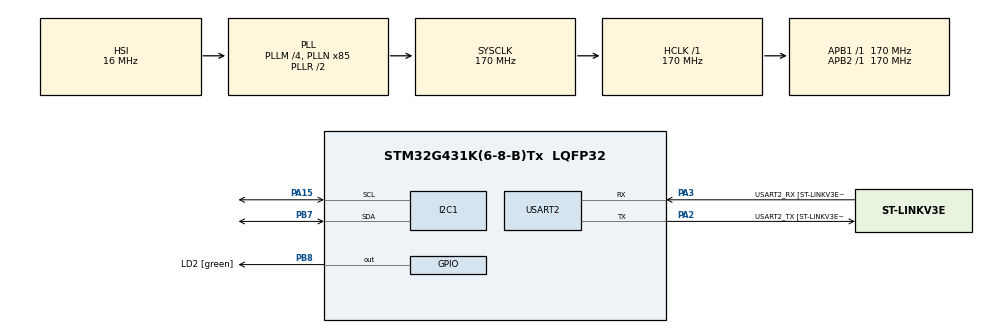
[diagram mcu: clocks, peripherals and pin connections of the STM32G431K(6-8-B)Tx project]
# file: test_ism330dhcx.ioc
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I2C1.Timing=0x30A0A7FB
Mcu.Family=STM32G4
Mcu.Name=STM32G431K(6-8-B)Tx
Mcu.Package=LQFP32
NVIC.PriorityGroup=NVIC_PRIORITYGROUP_4
PA13.GPIO_Label=T_SWDIO
PA13.Mode=Serial_Wire
PA13.Signal=SYS_JTMS-SWDIO
PA14.GPIO_Label=T_SWCLK
PA14.Mode=Serial_Wire
PA14.Signal=SYS_JTCK-SWCLK
PA15.Mode=I2C
PA15.Signal=I2C1_SCL
PA2.GPIO_Label=USART2_TX [ST-LINKV3E_VCP_RX]
PA2.Mode=Asynchronous
PA2.Signal=USART2_TX
PA3.GPIO_Label=USART2_RX [ST-LINKV3E_VCP_TX]
PA3.Mode=Asynchronous
PA3.Signal=USART2_RX
PB3.GPIO_Label=T_SWO
PB3.Signal=SYS_JTDO-SWO
PB7.Mode=I2C
PB7.Signal=I2C1_SDA
PB8-BOOT0.GPIO_Label=LD2 [green]
PB8-BOOT0.Signal=GPIO_Output
ProjectManager.HeapSize=0x200
ProjectManager.StackSize=0x400
ProjectManager.TargetToolchain=STM32CubeIDE
RCC.ADC12Freq_Value=170000000
RCC.AHBFreq_Value=170000000
RCC.APB1Freq_Value=170000000
RCC.APB1TimFreq_Value=170000000
RCC.APB2Freq_Value=170000000
RCC.APB2TimFreq_Value=170000000
RCC.CortexFreq_Value=170000000
RCC.EXTERNAL_CLOCK_VALUE=12288000
RCC.HCLKFreq_Value=170000000
RCC.HSE_VALUE=8000000
RCC.HSI48_VALUE=48000000
RCC.HSI_VALUE=16000000
RCC.LSE_VALUE=32768
RCC.PLLM=RCC_PLLM_DIV4
RCC.PLLN=85
RCC.SYSCLKFreq_VALUE=170000000
RCC.SYSCLKSource=RCC_SYSCLKSOURCE_PLLCLK
RCC.USBFreq_Value=170000000
RCC.VCOOutputFreq_Value=340000000
USART2.VirtualMode-Asynchronous=VM_ASYNC
USART2.WordLength=WORDLENGTH_8B
VP_SYS_VS_DBSignals.Mode=DisableDeadBatterySignals
board=NUCLEO-G431KB

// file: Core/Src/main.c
/* USER CODE BEGIN Header */
/**
  ******************************************************************************
  * @file           : main.c
  * @brief          : Main program body
  ******************************************************************************
  * @attention
  *
  * <h2><center>&copy; Copyright (c) 2020 STMicroelectronics.
  * All rights reserved.</center></h2>
  *
  * This software component is licensed by ST under BSD 3-Clause license,
  * the "License"; You may not use this file except in compliance with the
  * License. You may obtain a copy of the License at:
  *                        opensource.org/licenses/BSD-3-Clause
  *
  ******************************************************************************
  */
/* USER CODE END Header */
#include "main.h"

/* USER CODE BEGIN Includes */
#include "ism330dhcx_hal.h"
#include "string.h"
/* USER CODE END Includes */

I2C_HandleTypeDef hi2c1;					//< Handler for I2C
UART_HandleTypeDef huart2;					//< Handler for UART
/* USER CODE BEGIN PV */
ISM330DHCX_HandleTypeDef 	hism330;		//< For ISM330DHCX sensor
/* USER CODE END PV */

void SystemClock_Config(void);
static void MX_GPIO_Init(void);
static void MX_USART2_UART_Init(void);
static void MX_I2C1_Init(void);
/* USER CODE BEGIN PFP */
void ISM330DHCX_sendData(ism_data *ism_d, UART_HandleTypeDef *huart);
void ISM330DHCX_sendConf(ism_conf *ism_c, UART_HandleTypeDef *huart);
void loop();
/* USER CODE END PFP */

int main(void)
{

  /* MCU Configuration--------------------------------------------------------*/

  /* Reset of all peripherals, Initializes the Flash interface and the Systick. */
  HAL_Init();

  /* Configure the system clock */
  SystemClock_Config();

  /* Initialize all configured peripherals */
  MX_GPIO_Init();
  MX_USART2_UART_Init();
  MX_I2C1_Init();
  /* USER CODE BEGIN 2 */
  HAL_ISM330DHCX_Init();

  HAL_Delay(100);
//  hism330.write 	= HAL_ISM330DHCX_Write;
//  hism330.read 		= HAL_ISM330DHCX_Read;
//  hism330.handle	= &hi2c1;
  /* USER CODE END 2 */

  /* Infinite loop */
  while (1)
  {
    /* USER CODE BEGIN 3 */
	loop();
	HAL_Delay(100);
  }
  /* USER CODE END 3 */
}

void SystemClock_Config(void)
{
  RCC_OscInitTypeDef RCC_OscInitStruct = {0};
  RCC_ClkInitTypeDef RCC_ClkInitStruct = {0};
  RCC_PeriphCLKInitTypeDef PeriphClkInit = {0};

  /** Configure the main internal regulator output voltage
  */
  HAL_PWREx_ControlVoltageScaling(PWR_REGULATOR_VOLTAGE_SCALE1_BOOST);
  /** Initializes the RCC Oscillators according to the specified parameters
  * in the RCC_OscInitTypeDef structure.
  */
  RCC_OscInitStruct.OscillatorType = RCC_OSCILLATORTYPE_HSI;
  RCC_OscInitStruct.HSIState = RCC_HSI_ON;
  RCC_OscInitStruct.HSICalibrationValue = RCC_HSICALIBRATION_DEFAULT;
  RCC_OscInitStruct.PLL.PLLState = RCC_PLL_ON;
  RCC_OscInitStruct.PLL.PLLSource = RCC_PLLSOURCE_HSI;
  RCC_OscInitStruct.PLL.PLLM = RCC_PLLM_DIV4;
  RCC_OscInitStruct.PLL.PLLN = 85;
  RCC_OscInitStruct.PLL.PLLP = RCC_PLLP_DIV2;
  RCC_OscInitStruct.PLL.PLLQ = RCC_PLLQ_DIV2;
  RCC_OscInitStruct.PLL.PLLR = RCC_PLLR_DIV2;
  if (HAL_RCC_OscConfig(&RCC_OscInitStruct) != HAL_OK)
  {
    Error_Handler();
  }
  /** Initializes the CPU, AHB and APB buses clocks
  */
  RCC_ClkInitStruct.ClockType = RCC_CLOCKTYPE_HCLK|RCC_CLOCKTYPE_SYSCLK
                              |RCC_CLOCKTYPE_PCLK1|RCC_CLOCKTYPE_PCLK2;
  RCC_ClkInitStruct.SYSCLKSource = RCC_SYSCLKSOURCE_PLLCLK;
  RCC_ClkInitStruct.AHBCLKDivider = RCC_SYSCLK_DIV1;
  RCC_ClkInitStruct.APB1CLKDivider = RCC_HCLK_DIV1;
  RCC_ClkInitStruct.APB2CLKDivider = RCC_HCLK_DIV1;

  if (HAL_RCC_ClockConfig(&RCC_ClkInitStruct, FLASH_LATENCY_4) != HAL_OK)
  {
    Error_Handler();
  }
  /** Initializes the peripherals clocks
  */
  PeriphClkInit.PeriphClockSelection = RCC_PERIPHCLK_USART2|RCC_PERIPHCLK_I2C1;
  PeriphClkInit.Usart2ClockSelection = RCC_USART2CLKSOURCE_PCLK1;
  PeriphClkInit.I2c1ClockSelection = RCC_I2C1CLKSOURCE_PCLK1;
  if (HAL_RCCEx_PeriphCLKConfig(&PeriphClkInit) != HAL_OK)
  {
    Error_Handler();
  }
}

static void MX_I2C1_Init(void)
{

  hi2c1.Instance = I2C1;
  hi2c1.Init.Timing = 0x30A0A7FB;
  hi2c1.Init.OwnAddress1 = 0;
  hi2c1.Init.AddressingMode = I2C_ADDRESSINGMODE_7BIT;
  hi2c1.Init.DualAddressMode = I2C_DUALADDRESS_DISABLE;
  hi2c1.Init.OwnAddress2 = 0;
  hi2c1.Init.OwnAddress2Masks = I2C_OA2_NOMASK;
  hi2c1.Init.GeneralCallMode = I2C_GENERALCALL_DISABLE;
  hi2c1.Init.NoStretchMode = I2C_NOSTRETCH_DISABLE;
  if (HAL_I2C_Init(&hi2c1) != HAL_OK)
  {
    Error_Handler();
  }
  /** Configure Analogue filter
  */
  if (HAL_I2CEx_ConfigAnalogFilter(&hi2c1, I2C_ANALOGFILTER_ENABLE) != HAL_OK)
  {
    Error_Handler();
  }
  /** Configure Digital filter
  */
  if (HAL_I2CEx_ConfigDigitalFilter(&hi2c1, 0) != HAL_OK)
  {
    Error_Handler();
  }

}

static void MX_USART2_UART_Init(void)
{

  huart2.Instance = USART2;
  huart2.Init.BaudRate = 115200;
  huart2.Init.WordLength = UART_WORDLENGTH_8B;
  huart2.Init.StopBits = UART_STOPBITS_1;
  huart2.Init.Parity = UART_PARITY_NONE;
  huart2.Init.Mode = UART_MODE_TX_RX;
  huart2.Init.HwFlowCtl = UART_HWCONTROL_NONE;
  huart2.Init.OverSampling = UART_OVERSAMPLING_16;
  huart2.Init.OneBitSampling = UART_ONE_BIT_SAMPLE_DISABLE;
  huart2.Init.ClockPrescaler = UART_PRESCALER_DIV1;
  huart2.AdvancedInit.AdvFeatureInit = UART_ADVFEATURE_NO_INIT;
  if (HAL_UART_Init(&huart2) != HAL_OK)
  {
    Error_Handler();
  }
  if (HAL_UARTEx_SetTxFifoThreshold(&huart2, UART_TXFIFO_THRESHOLD_1_8) != HAL_OK)
  {
    Error_Handler();
  }
  if (HAL_UARTEx_SetRxFifoThreshold(&huart2, UART_RXFIFO_THRESHOLD_1_8) != HAL_OK)
  {
    Error_Handler();
  }
  if (HAL_UARTEx_DisableFifoMode(&huart2) != HAL_OK)
  {
    Error_Handler();
  }

}

static void MX_GPIO_Init(void)
{
  GPIO_InitTypeDef GPIO_InitStruct = {0};

  /* GPIO Ports Clock Enable */
  __HAL_RCC_GPIOA_CLK_ENABLE();
  __HAL_RCC_GPIOB_CLK_ENABLE();

  /*Configure GPIO pin Output Level */
  HAL_GPIO_WritePin(LD2_GPIO_Port, LD2_Pin, GPIO_PIN_RESET);

  /*Configure GPIO pin : LD2_Pin */
  GPIO_InitStruct.Pin = LD2_Pin;
  GPIO_InitStruct.Mode = GPIO_MODE_OUTPUT_PP;
  GPIO_InitStruct.Pull = GPIO_NOPULL;
  GPIO_InitStruct.Speed = GPIO_SPEED_FREQ_LOW;
  HAL_GPIO_Init(LD2_GPIO_Port, &GPIO_InitStruct);

}

/* USER CODE BEGIN 4 */

/*
 * 	@brief		Send the current data struct to UART
 * 	@param1		Handler for ISM330DHCX
 * 	@param2		Handler for UART
 */
void ISM330DHCX_sendData(ism_data *ism_d, UART_HandleTypeDef *huart)
{
	  // Start UART sequence with "S"
	  HAL_UART_Transmit(&huart2, (uint8_t*)"S", sizeof("S"), 50);
	  // Create a char buffer of right size
	  char buffer[sizeof(float)*7];
	  // Copy and convert the data
	  memcpy(buffer, ism_d, sizeof(float)*7);
	  // Transmit to UART
	  HAL_UART_Transmit(huart, (uint8_t *)buffer, sizeof(buffer), 50);
	  // End sequence with "Z"
	  HAL_UART_Transmit(&huart2, (uint8_t*)"Z", sizeof("Z"), 50);

}

/*	ISM330DHCX_sendConf Funcion
 *
 * 	@brief:		Send the current configuration struct to UART
 * 	@param1:	Handler for ISM330DHCX
 * 	@param2:	Handler for UART
 */
void ISM330DHCX_sendConf(ism_conf *ism_c, UART_HandleTypeDef *huart)
{
	// Start sequence with "C"
	HAL_UART_Transmit(&huart2, (uint8_t*)"C", sizeof("C"), 50);
	// Create a char buffer of right size
	char buffer[sizeof(uint8_t)*6];
	// Copy and convert the data
	memcpy(buffer, ism_c, sizeof(uint8_t)*6);
	// Transmit to UART
	HAL_UART_Transmit(huart, (uint8_t *)buffer, sizeof(buffer), 50);
	// End sequence with "Z"
	HAL_UART_Transmit(&huart2, (uint8_t*)"Z", sizeof("Z"), 50);
}

/*	Loop function
 *
 * 	@brief:	Catch UART command and Process the associated function
 */
void loop()
{
	uint8_t rx_buff = 0;
	if(HAL_UART_Receive(&huart2,&rx_buff,1,5000) == HAL_OK)
	{
		switch(rx_buff)
		{
			case 'C':
			{
				/* Local variable for Configuration Register struct */
				ism_conf ism_c;
				/* Read Configuration Registers on ISM330DHCX */
				HAL_ISM330DHCX_getConf(&ism_c);
				/* Send Configuration on UART */
				ISM330DHCX_sendConf(&ism_c, &huart2);
				break;
			}
			case 'S':
			{
				/* Local variable for Configuration Register struct */
				ism_data ism_d;
				//< Read Sensor
				HAL_ISM330DHCX_Poll(&ism_d);
				// Send structure to uart
				ISM330DHCX_sendData(&ism_d, &huart2);
				break;
			}
			default:
				break;
		}
	}
	else
	{
		uint8_t rx = __HAL_UART_GET_FLAG(&huart2, UART_FLAG_RXNE);
		uint8_t or = __HAL_UART_GET_FLAG(&huart2, UART_FLAG_ORE);
		uint8_t ne = __HAL_UART_GET_FLAG(&huart2, UART_FLAG_NE);
		uint8_t fe = __HAL_UART_GET_FLAG(&huart2, UART_FLAG_FE);
		uint8_t pe = __HAL_UART_GET_FLAG(&huart2, UART_FLAG_PE);
	}
}

/* USER CODE END 4 */

void Error_Handler(void)
{
  /* USER CODE BEGIN Error_Handler_Debug */
  /* User can add his own implementation to report the HAL error return state */

	  HAL_GPIO_WritePin(LD2_GPIO_Port, LD2_Pin, GPIO_PIN_SET);
  /* USER CODE END Error_Handler_Debug */
}

/************************ (C) COPYRIGHT STMicroelectronics *****END OF FILE****/
